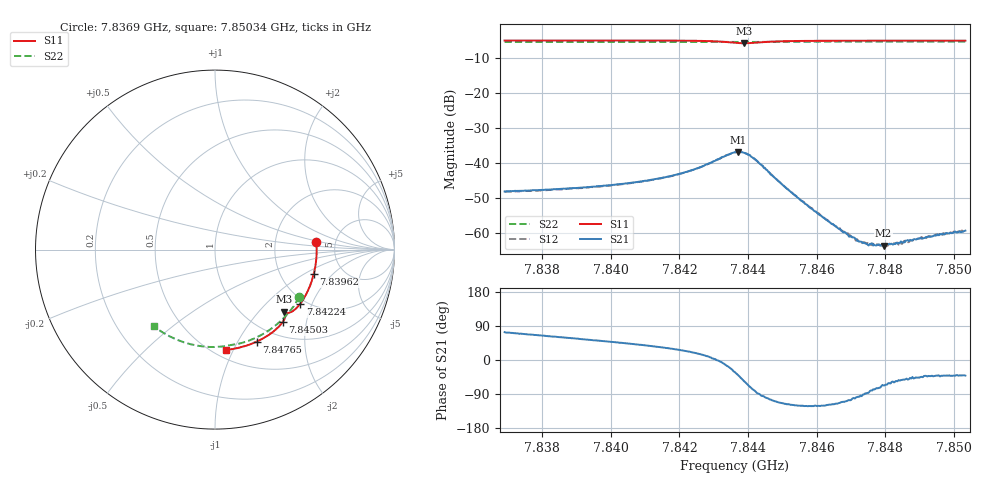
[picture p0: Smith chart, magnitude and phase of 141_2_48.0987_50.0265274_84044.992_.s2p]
#  HZ  S  RI  R  50.00
! Rohde & Schwarz Vector Network Analyzer
! Rohde-Schwarz,ZNB20-2Port,1311601062101988,3.16
! Created: UTC 12/23/2023, 3:48:45 AM
! freq[Hz]  re:S11  im:S11  re:S21  im:S21  re:S12  im:S12  re:S22  im:S22
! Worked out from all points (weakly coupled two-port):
!   401 points, 7.8369 GHz to 7.85034 GHz, reference 50 ohm
!   highest |S21| = -36.78 dB at 7.84372 GHz (marker M1); lowest = -63.6 dB at 7.84796 GHz (marker M2)
!   lowest |S11| = -5.7 dB at 7.84389 GHz (marker M3), VSWR 3.14, Z = 73.7 - j69.4 ohm
!   |S11| at or under -10 dB: nowhere
!   |S22| runs from -5.4 to -5.3 dB; largest |S21 - S12| = 0.00035
!   S11 on the Smith chart (normalised r, x): 7.8369 GHz: 3.55, +0.44; 7.83962 GHz: 3.06, -1.24; 7.84224 GHz: 1.86, -1.64; 7.84503 GHz: 1.25, -1.46; 7.84765 GHz: 0.80, -1.20; 7.85034 GHz: 0.57, -0.93
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7.836897e9  0.5646 0.0423  0.00112 0.00376  0.00116 0.00374  0.4705 -0.2639
7.83915e9  0.5566 -0.107  0.00254 0.00369  0.00251 0.00361  0.375 -0.389
7.83962e9  0.5499 -0.1379  0.00293 0.00364  0.00286 0.00362  0.3506 -0.4113
7.841402e9  0.5066 -0.2514  0.00499 0.00339  0.00492 0.0034  0.2474 -0.4813
7.842242e9  0.4744 -0.3023  0.00701 0.00294  0.00697 0.00291  0.1934 -0.5055
7.843116e9  0.4245 -0.3474  0.0113 -0.0002  0.0112 -0.000169  0.1347 -0.5235
7.843621e9  0.3899 -0.3516  0.012 -0.00761  0.0121 -0.00747  0.1009 -0.5296
7.843722e9  0.3862 -0.3488  0.0109 -0.00951  0.0109 -0.0093  0.0943 -0.5307
7.84389e9  0.3853 -0.345  0.00776 -0.0116  0.00792 -0.0117  0.0838 -0.5324
7.844024e9  0.3879 -0.3452  0.00491 -0.0122  0.00501 -0.0122  0.0753 -0.5341
7.844226e9  0.3926 -0.3525  0.00123 -0.0111  0.0013 -0.0109  0.062 -0.5367
7.845033e9  0.3761 -0.4052  -0.00197 -0.00432  -0.00198 -0.00437  0.00576 -0.5424
7.845873e9  0.3346 -0.449  -0.00115 -0.00187  -0.00117 -0.00193  -0.0535 -0.541
7.846713e9  0.2875 -0.483  -0.000407 -0.00103  -0.000434 -0.000992  -0.1121 -0.5326
7.847184e9  0.2598 -0.4989  -0.000104 -0.000771  -0.000107 -0.000807  -0.1441 -0.5251
7.847453e9  0.2437 -0.5072  2.46e-05 -0.000696  3.14e-05 -0.000716  -0.1624 -0.5198
7.847655e9  0.2313 -0.5131  0.000145 -0.000647  0.000135 -0.00069  -0.1759 -0.5156
7.847957e9  0.2127 -0.5211  0.000255 -0.000608  0.000223 -0.000632  -0.1958 -0.5086
7.848125e9  0.2022 -0.5255  0.000334 -0.00061  0.000316 -0.000632  -0.2067 -0.5043
7.848461e9  0.181 -0.533  0.000456 -0.000607  0.000428 -0.000568  -0.2285 -0.495
7.849571e9  0.1096 -0.5519  0.000704 -0.000605  0.000728 -0.000622  -0.2968 -0.4579
7.850344e9  0.0587 -0.5593  0.000814 -0.000713  0.000823 -0.000729  -0.3411 -0.4267
